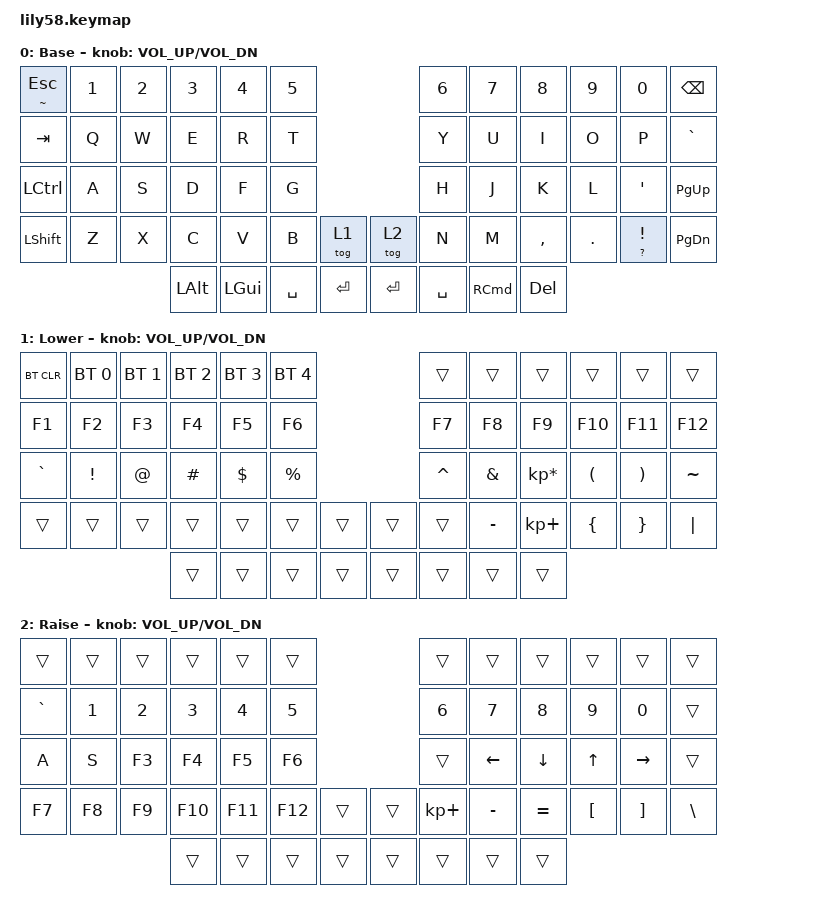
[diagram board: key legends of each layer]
/*
 * Copyright (c) 2020 The ZMK Contributors
 *
 * SPDX-License-Identifier: MIT
 */

#include <behaviors.dtsi>
#include <dt-bindings/zmk/bt.h>
#include <dt-bindings/zmk/keys.h>

/ {
    behaviors {
        custom_hold_tap: custom_hold_tap {
            compatible = "zmk,behavior-hold-tap";
            label = "CUSTOM_HOLD_TAP";
            bindings = <&kp>, <&kp>;

            #binding-cells = <2>;
            tapping-term-ms = <150>;
            flavor = "tap-preferred";
        };
    };

    keymap {
        compatible = "zmk,keymap";

        default_layer {
            // ------------------------------------------------------------------------------------------------------------
            // |  ESC  |  1  |  2  |  3   |  4   |  5   |                   |  6   |  7    |  8    |  9   |   0   |   `   |
            // |  TAB  |  Q  |  W  |  E   |  R   |  T   |                   |  Y   |  U    |  I    |  O   |   P   |   -   |
            // |  CTRL |  A  |  S  |  D   |  F   |  G   |                   |  H   |  J    |  K    |  L   |   ;   |   '   |
            // | SHIFT |  Z  |  X  |  C   |  V   |  B   |   "["  |  |  "]"  |  N   |  M    |  ,    |  .   |   /   | SHIFT |
            //                     | ALT  | GUI  | LOWER|  SPACE |  | ENTER | RAISE| BSPC  | GUI   |

            display-name = "Base";
            bindings = <
&custom_hold_tap TILDE ESCAPE  &kp NUMBER_1  &kp NUMBER_2  &kp NUMBER_3  &kp NUMBER_4  &kp N5                               &kp NUMBER_6  &kp N7             &kp N8     &kp N9   &kp N0                                 &kp BACKSPACE
&kp TAB                        &kp Q         &kp W         &kp E         &kp R         &kp T                                &kp Y         &kp U              &kp I      &kp O    &kp P                                  &kp GRAVE
&kp LCTRL                      &kp A         &kp S         &kp D         &kp F         &kp G                                &kp H         &kp J              &kp K      &kp L    &kp SQT                                &kp PAGE_UP
&kp LSHFT                      &kp Z         &kp X         &kp C         &kp V         &kp B      &tog 1        &tog 2      &kp N         &kp M              &kp COMMA  &kp DOT  &custom_hold_tap QUESTION EXCLAMATION  &kp PAGE_DOWN
                                                           &kp LALT      &kp LGUI      &kp SPACE  &kp RETURN    &kp RETURN  &kp SPACE     &kp RIGHT_COMMAND  &kp DEL
            >;

            sensor-bindings = <&inc_dec_kp C_VOL_UP C_VOL_DN>;
        };

        lower_layer {
            // ------------------------------------------------------------------------------------------------------------
            // | BTCLR | BT1 | BT2 |  BT3 |  BT4 |  BT5 |                   |      |       |       |      |       |       |
            // |  F1   |  F2 |  F3 |  F4  |  F5  |  F6  |                   |  F7  |  F8   |  F9   |  F10 |  F11  |  F12  |
            // |   `   |  !  |  @  |  #   |  $   |  %   |                   |  ^   |  &    |  *    |  (   |   )   |   ~   |
            // |       |     |     |      |      |      |        |  |       |      |  _    |  +    |  {   |   }   |  "|"  |
            //                     |      |      |      |        |  |       |      |       |       |

            display-name = "Lower";
            bindings = <
&bt BT_CLR  &bt BT_SEL 0  &bt BT_SEL 1  &bt BT_SEL 2  &bt BT_SEL 3  &bt BT_SEL 4                    &trans     &trans     &trans           &trans    &trans    &trans
&kp F1      &kp F2        &kp F3        &kp F4        &kp F5        &kp F6                          &kp F7     &kp F8     &kp F9           &kp F10   &kp F11   &kp F12
&kp GRAVE   &kp EXCL      &kp AT        &kp HASH      &kp DOLLAR    &kp PRCNT                       &kp CARET  &kp AMPS   &kp KP_MULTIPLY  &kp LPAR  &kp RPAR  &kp TILDE
&trans      &trans        &trans        &trans        &trans        &trans        &trans    &trans  &trans     &kp MINUS  &kp KP_PLUS      &kp LBRC  &kp RBRC  &kp PIPE
                                        &trans        &trans        &trans        &trans    &trans  &trans     &trans     &trans
            >;

            sensor-bindings = <&inc_dec_kp C_VOL_UP C_VOL_DN>;
        };

        raise_layer {
            // ------------------------------------------------------------------------------------------------------------
            // |       |     |     |      |      |      |                   |      |       |       |      |       |       |
            // |   `   |  1  |  2  |  3   |  4   |  5   |                   |  6   |   7   |   8   |  9   |   0   |       |
            // |   F1  |  F2 |  F3 |  F4  |  F5  |  F6  |                   |      |   <-  |   v   |  ^   |  ->   |       |
            // |   F7  |  F8 |  F9 |  F10 |  F11 |  F12 |        |  |       |  +   |   -   |   =   |  [   |   ]   |   \   |
            //                     |      |      |      |        |  |       |      |       |       |

            display-name = "Raise";
            bindings = <
&trans     &trans  &trans  &trans   &trans   &trans                     &trans       &trans     &trans     &trans    &trans     &trans
&kp GRAVE  &kp N1  &kp N2  &kp N3   &kp N4   &kp N5                     &kp N6       &kp N7     &kp N8     &kp N9    &kp N0     &trans
&kp A      &kp S   &kp F3  &kp F4   &kp F5   &kp F6                     &trans       &kp LEFT   &kp DOWN   &kp UP    &kp RIGHT  &trans
&kp F7     &kp F8  &kp F9  &kp F10  &kp F11  &kp F12  &trans    &trans  &kp KP_PLUS  &kp MINUS  &kp EQUAL  &kp LBKT  &kp RBKT   &kp BSLH
                           &trans   &trans   &trans   &trans    &trans  &trans       &trans     &trans
            >;

            sensor-bindings = <&inc_dec_kp C_VOL_UP C_VOL_DN>;
        };
    };
};
